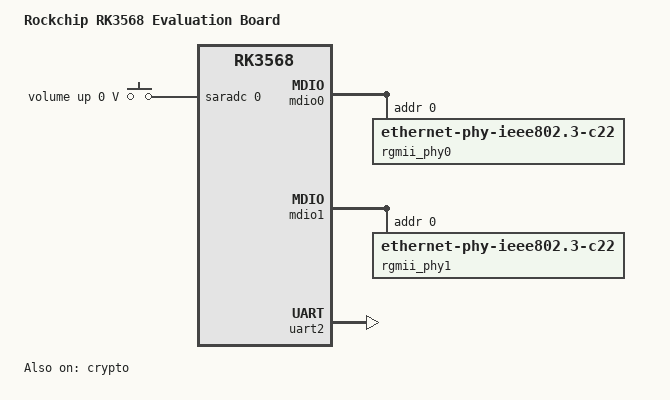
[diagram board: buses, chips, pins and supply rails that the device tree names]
/*
 * SPDX-License-Identifier:     GPL-2.0+
 *
 * (C) Copyright 2020 Rockchip Electronics Co., Ltd
 */

/dts-v1/;
#include "rk3568.dtsi"
#include "rk3568-u-boot.dtsi"
#include <dt-bindings/input/input.h>

/ {
	model = "Rockchip RK3568 Evaluation Board";
	compatible = "rockchip,rk3568-evb", "rockchip,rk3568";

	adc-keys {
		compatible = "adc-keys";
		io-channels = <&saradc 0>;
		io-channel-names = "buttons";
		keyup-threshold-microvolt = <1800000>;
		u-boot,dm-spl;
		status = "okay";

		/*
		 * 注意：本节点在 board_late_init() 执行时**不可达**，改这里的阈值对
		 * U-Boot 下载键没有任何影响 —— 实测 board_late_init() 里 gd->fdt_blob
		 * 指向的已是内核 dtb（0x0a100000，size 27232），key 驱动实际读的是
		 * 内核 dts 里的 adc-keys（vol-up/vol-down/menu/back/uboot-key）。
		 * 本板的 UBOOT/升级键在内核 dts 里是 uboot-key = KEY_F7 (65)、
		 * press-threshold = 223000 uV（窗口 [96,156]，按住 raw=127 命中）。
		 *
		 * 因此修复不在 dts，而在 board/rockchip/evb_rk3568/evb_rk3568.c 里
		 * 覆盖 rockchip_dnl_key_pressed()，同时认 KEY_VOLUMEUP 和 KEY_F7。
		 * 详见 docs/61 §十 与 §十一。
		 *
		 * 保持公版原值 9 uV，是为了让 fdt 组件与工厂 uboot 逐字节一致
		 * （sha256 fcfda359...），不给闸门引入新基线。
		 */
		volumeup-key {
			u-boot,dm-spl;
			linux,code = <KEY_VOLUMEUP>;
			label = "volume up";
			press-threshold-microvolt = <9>;
		};
	};
};


&gmac0 {
	phy-mode = "rgmii";
	clock_in_out = "output";

	snps,reset-gpio = <&gpio2 RK_PD3 GPIO_ACTIVE_LOW>;
	snps,reset-active-low;
	/* Reset time is 20ms, 100ms for rtl8211f */
	snps,reset-delays-us = <0 20000 100000>;
	assigned-clocks = <&cru SCLK_GMAC0_RX_TX>, <&cru SCLK_GMAC0>;
	assigned-clock-parents = <&cru SCLK_GMAC0_RGMII_SPEED>;
	assigned-clock-rates = <0>, <125000000>;

	pinctrl-names = "default";
	pinctrl-0 = <&gmac0_miim
		     &gmac0_tx_bus2
		     &gmac0_rx_bus2
		     &gmac0_rgmii_clk
		     &gmac0_rgmii_bus>;

	tx_delay = <0x3c>;
	rx_delay = <0x2f>;

	phy-handle = <&rgmii_phy0>;
	status = "disabled";
};

&gmac1 {
	phy-mode = "rgmii";
	clock_in_out = "output";

	snps,reset-gpio = <&gpio2 RK_PD1 GPIO_ACTIVE_LOW>;
	snps,reset-active-low;
	/* Reset time is 20ms, 100ms for rtl8211f */
	snps,reset-delays-us = <0 20000 100000>;

	assigned-clocks = <&cru SCLK_GMAC1_RX_TX>, <&cru SCLK_GMAC1>;
	assigned-clock-parents = <&cru SCLK_GMAC1_RGMII_SPEED>;
	assigned-clock-rates = <0>, <125000000>;

	pinctrl-names = "default";
	pinctrl-0 = <&gmac1m1_miim
		     &gmac1m1_tx_bus2
		     &gmac1m1_rx_bus2
		     &gmac1m1_rgmii_clk
		     &gmac1m1_rgmii_bus>;

	tx_delay = <0x4f>;
	rx_delay = <0x26>;

	phy-handle = <&rgmii_phy1>;
	status = "disabled";
};

&mdio0 {
	rgmii_phy0: phy@0 {
		compatible = "ethernet-phy-ieee802.3-c22";
		reg = <0x0>;
	};
};

&mdio1 {
	rgmii_phy1: phy@0 {
		compatible = "ethernet-phy-ieee802.3-c22";
		reg = <0x0>;
	};
};

&crypto {
	status = "okay";
};

&uart2 {
	status = "okay";
};
